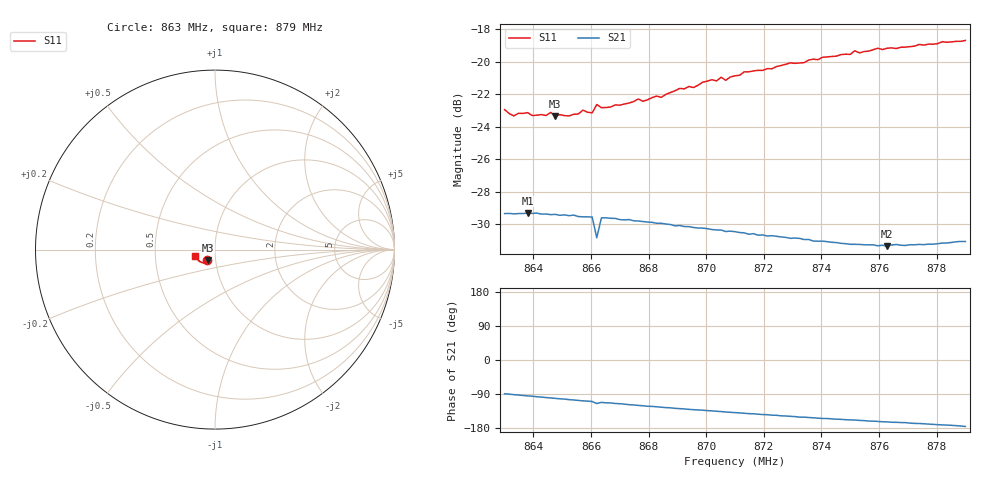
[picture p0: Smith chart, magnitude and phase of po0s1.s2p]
# HZ S RI R 50
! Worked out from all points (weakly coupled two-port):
!   101 points, 863 MHz to 879 MHz, reference 50 ohm
!   highest |S21| = -29.30 dB at 863.8 MHz (marker M1); lowest = -31.3 dB at 876.28 MHz (marker M2)
!   lowest |S11| = -23.3 dB at 864.76 MHz (marker M3), VSWR 1.15, Z = 46.1 - j5.28 ohm
!   |S11| at or under -10 dB: start of sweep to end of sweep
!   S12 and S22 are empty: the file has one direction only
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8.63e8  -0.0419 -0.0576  0.000531 -0.0341  0 0  0 0
8.6332e8  -0.0387 -0.0561  -0.000875 -0.0341  0 0  0 0
8.638e8  -0.0394 -0.0576  -0.00287 -0.0342  0 0  0 0
8.6444e8  -0.0364 -0.0579  -0.0054 -0.0336  0 0  0 0
8.646e8  -0.0375 -0.059  -0.00596 -0.0334  0 0  0 0
8.6476e8  -0.0373 -0.057  -0.00661 -0.0333  0 0  0 0
8.6556e8  -0.0346 -0.0598  -0.0096 -0.032  0 0  0 0
8.6572e8  -0.035 -0.0618  -0.0102 -0.0318  0 0  0 0
8.6604e8  -0.0332 -0.0613  -0.0111 -0.0314  0 0  0 0
8.662e8  -0.0373 -0.0638  -0.0121 -0.0261  0 0  0 0
8.6636e8  -0.036 -0.0627  -0.0123 -0.0307  0 0  0 0
8.6764e8  -0.0363 -0.0678  -0.0161 -0.0281  0 0  0 0
8.6844e8  -0.0373 -0.0682  -0.0181 -0.0262  0 0  0 0
8.6908e8  -0.0423 -0.0713  -0.0195 -0.0246  0 0  0 0
8.6956e8  -0.0432 -0.0713  -0.0204 -0.0233  0 0  0 0
8.7052e8  -0.0488 -0.0752  -0.0219 -0.0211  0 0  0 0
8.7068e8  -0.0484 -0.0732  -0.0221 -0.0204  0 0  0 0
8.71e8  -0.051 -0.0749  -0.0226 -0.0198  0 0  0 0
8.7372e8  -0.0716 -0.0724  -0.0249 -0.013  0 0  0 0
8.7628e8  -0.0922 -0.0601  -0.026 -0.00777  0 0  0 0
8.7644e8  -0.0929 -0.0596  -0.0263 -0.00739  0 0  0 0
8.79e8  -0.11 -0.038  -0.0279 -0.00226  0 0  0 0
